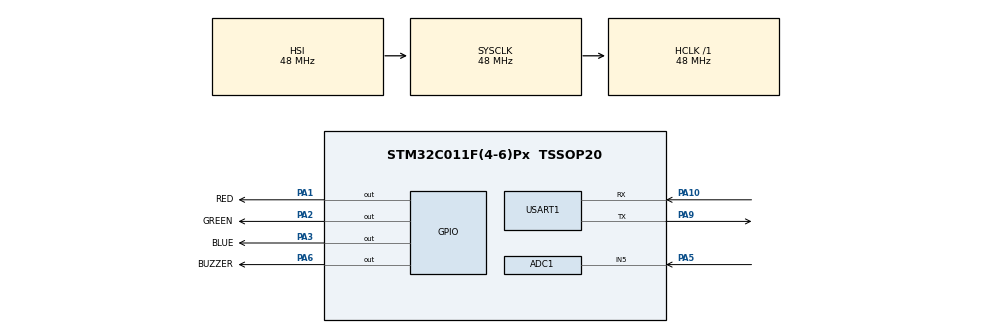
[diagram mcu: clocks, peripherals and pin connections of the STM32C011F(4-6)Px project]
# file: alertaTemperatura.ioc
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ADC1.Channel-0\#ChannelRegularConversion=ADC_CHANNEL_5
ADC1.NbrOfConversionFlag=1
ADC1.Rank-0\#ChannelRegularConversion=1
ADC1.SamplingTime-0\#ChannelRegularConversion=ADC_SAMPLINGTIME_COMMON_1
ADC1.SelectedChannel=ADC_CHANNEL_5
ADC1.master=1
Mcu.Family=STM32C0
Mcu.Name=STM32C011F(4-6)Px
Mcu.Package=TSSOP20
PA1.GPIO_Label=RED
PA1.Signal=GPIO_Output
PA10\ [PA12].Mode=Asynchronous
PA10\ [PA12].Signal=USART1_RX
PA13.Mode=Serial_Wire
PA13.Signal=DEBUG_SWDIO
PA14-BOOT0.Mode=Serial_Wire
PA14-BOOT0.Signal=DEBUG_SWCLK
PA2.GPIO_Label=GREEN
PA2.Signal=GPIO_Output
PA3.GPIO_Label=BLUE
PA3.Signal=GPIO_Output
PA5.Mode=IN5
PA5.Signal=ADC1_IN5
PA6.GPIO_Label=BUZZER
PA6.Signal=GPIO_Output
PA9\ [PA11].Mode=Asynchronous
PA9\ [PA11].Signal=USART1_TX
ProjectManager.HeapSize=0x200
ProjectManager.StackSize=0x400
ProjectManager.TargetToolchain=STM32CubeIDE
RCC.ADCFreq_Value=48000000
RCC.AHBFreq_Value=48000000
RCC.CortexFreq_Value=48000000
RCC.EXTERNAL_CLOCK_VALUE=12288000
RCC.HCLKFreq_Value=48000000
RCC.HSE_VALUE=8000000
RCC.HSISYSCLKDivider=RCC_HSI_DIV1
RCC.HSI_VALUE=48000000
RCC.LSE_VALUE=32768
RCC.SYSCLKFreq_VALUE=48000000
USART1.VirtualMode-Asynchronous=VM_ASYNC
VP_SYS_VS_PINREMAP.Mode=PINREMAP
VP_SYS_VS_PINREMAP_10_12.Mode=PINREMAP_10_12
board=custom

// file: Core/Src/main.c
/* USER CODE BEGIN Header */
/**
  ******************************************************************************
  * @file           : main.c
  * @brief          : Main program body
  ******************************************************************************
  * @attention
  *
  * Copyright (c) 2024 STMicroelectronics.
  * All rights reserved.
  *
  * This software is licensed under terms that can be found in the LICENSE file
  * in the root directory of this software component.
  * If no LICENSE file comes with this software, it is provided AS-IS.
  *
  ******************************************************************************
  */
/* USER CODE END Header */
#include "main.h"

/* USER CODE BEGIN Includes */
#include "stdio.h"
#include "math.h"
#include "string.h"
/* USER CODE END Includes */

ADC_HandleTypeDef hadc1;

UART_HandleTypeDef huart1;

/* USER CODE BEGIN PV */

/* resistencia resistor serie */
#define resistor 10000.0f

/* contantes equacao Steinhart-Hart  */
#define A 0.001125308852122f
#define B 0.000234711863267f
#define C 0.000000085663516f

uint32_t leitura;
float temperatura;
/* USER CODE END PV */

void SystemClock_Config(void);
static void MX_GPIO_Init(void);
static void MX_ADC1_Init(void);
static void MX_USART1_UART_Init(void);
/* USER CODE BEGIN PFP */
float calcular_temperatura();
void controlar_leds_e_buzzer();
void transmitir_temperatura();
/* USER CODE END PFP */

/* USER CODE BEGIN 0 */
float calcular_temperatura(){
	float ntc_resistance;
	/* calcula resistencia NTC */
	ntc_resistance = ((resistor)/((4095.0f/leitura) - 1.0f));
	/* Calcula temperatura usando equacao Steinhart-Hart  */
	float ntc_ln = log(ntc_resistance);
	temperatura = (1.0f / (A + B * ntc_ln + C * (ntc_ln * ntc_ln * ntc_ln))) - 273.15f;
	return temperatura;
}

void controlar_leds_e_buzzer() {
    if (temperatura <= 15) {
        // Ligar LED azul
        HAL_GPIO_WritePin(BLUE_GPIO_Port, BLUE_Pin, GPIO_PIN_SET);
        // Desligar outros LEDs
        HAL_GPIO_WritePin(GREEN_GPIO_Port, GREEN_Pin, GPIO_PIN_RESET);
        HAL_GPIO_WritePin(RED_GPIO_Port, RED_Pin, GPIO_PIN_RESET);
        // Desligar buzzer
        HAL_GPIO_WritePin(BUZZER_GPIO_Port, BUZZER_Pin, GPIO_PIN_RESET);
    } else if (temperatura > 15 && temperatura <= 30) {
        // Ligar LED verde
        HAL_GPIO_WritePin(GREEN_GPIO_Port, GREEN_Pin, GPIO_PIN_SET);
        // Desligar outros LEDs
        HAL_GPIO_WritePin(BLUE_GPIO_Port, BLUE_Pin, GPIO_PIN_RESET);
        HAL_GPIO_WritePin(RED_GPIO_Port, RED_Pin, GPIO_PIN_RESET);
        // Desligar buzzer
        HAL_GPIO_WritePin(BUZZER_GPIO_Port, BUZZER_Pin, GPIO_PIN_RESET);
    } else if (temperatura > 30) {
        // Ligar LED vermelho
        HAL_GPIO_WritePin(RED_GPIO_Port, RED_Pin, GPIO_PIN_SET);
        // Desligar outros LEDs
        HAL_GPIO_WritePin(BLUE_GPIO_Port, BLUE_Pin, GPIO_PIN_RESET);
        HAL_GPIO_WritePin(GREEN_GPIO_Port, GREEN_Pin, GPIO_PIN_RESET);
        // Ligar buzzer
        HAL_GPIO_WritePin(BUZZER_GPIO_Port, BUZZER_Pin, GPIO_PIN_SET);
    }
}

void transmitir_temperatura() {
    // Divida a temperatura em parte inteira e parte decimal
    int parte_inteira = (int)temperatura;
    int parte_decimal = (int)((temperatura - parte_inteira) * 100); // Duas casas decimais

    // Buffer para a string a ser transmitida
    char buffer[50];

    // Converta as partes para string e envie via UART
    sprintf(buffer, "Temperatura: %d.%02d\r\n", parte_inteira, parte_decimal);
    HAL_UART_Transmit(&huart1, (uint8_t*)buffer, strlen(buffer), HAL_MAX_DELAY);
}

/* USER CODE END 0 */

int main(void)
{

  /* MCU Configuration--------------------------------------------------------*/

  /* Reset of all peripherals, Initializes the Flash interface and the Systick. */
  HAL_Init();

  /* Configure the system clock */
  SystemClock_Config();

  /* Initialize all configured peripherals */
  MX_GPIO_Init();
  MX_ADC1_Init();
  MX_USART1_UART_Init();

  /* Infinite loop */
  while (1)
  {

    /* USER CODE BEGIN 3 */
	// ADC Polling
	HAL_ADC_Start (&hadc1);   // inicia leitura ADC
	HAL_ADC_PollForConversion (&hadc1, 1000); //aguarda conversao seja concluida
	leitura = HAL_ADC_GetValue (&hadc1); //  armazenar o valor lido pelo ADC
	HAL_ADC_Stop(&hadc1);
	// Calcula a temperatura
	temperatura = calcular_temperatura();
	// Controla os LEDs e o buzzer baseado na temperatura
	controlar_leds_e_buzzer();
	// Transmite a temperatura via UART
	transmitir_temperatura();

  }
  /* USER CODE END 3 */
}

void SystemClock_Config(void)
{
  RCC_OscInitTypeDef RCC_OscInitStruct = {0};
  RCC_ClkInitTypeDef RCC_ClkInitStruct = {0};

  /** Initializes the RCC Oscillators according to the specified parameters
  * in the RCC_OscInitTypeDef structure.
  */
  RCC_OscInitStruct.OscillatorType = RCC_OSCILLATORTYPE_HSI;
  RCC_OscInitStruct.HSIState = RCC_HSI_ON;
  RCC_OscInitStruct.HSIDiv = RCC_HSI_DIV1;
  RCC_OscInitStruct.HSICalibrationValue = RCC_HSICALIBRATION_DEFAULT;
  if (HAL_RCC_OscConfig(&RCC_OscInitStruct) != HAL_OK)
  {
    Error_Handler();
  }

  /** Initializes the CPU, AHB and APB buses clocks
  */
  RCC_ClkInitStruct.ClockType = RCC_CLOCKTYPE_HCLK|RCC_CLOCKTYPE_SYSCLK
                              |RCC_CLOCKTYPE_PCLK1;
  RCC_ClkInitStruct.SYSCLKSource = RCC_SYSCLKSOURCE_HSI;
  RCC_ClkInitStruct.SYSCLKDivider = RCC_SYSCLK_DIV1;
  RCC_ClkInitStruct.AHBCLKDivider = RCC_HCLK_DIV1;
  RCC_ClkInitStruct.APB1CLKDivider = RCC_APB1_DIV1;

  if (HAL_RCC_ClockConfig(&RCC_ClkInitStruct, FLASH_LATENCY_1) != HAL_OK)
  {
    Error_Handler();
  }
}

static void MX_ADC1_Init(void)
{

  ADC_ChannelConfTypeDef sConfig = {0};

  /** Configure the global features of the ADC (Clock, Resolution, Data Alignment and number of conversion)
  */
  hadc1.Instance = ADC1;
  hadc1.Init.ClockPrescaler = ADC_CLOCK_SYNC_PCLK_DIV2;
  hadc1.Init.Resolution = ADC_RESOLUTION_12B;
  hadc1.Init.DataAlign = ADC_DATAALIGN_RIGHT;
  hadc1.Init.ScanConvMode = ADC_SCAN_DISABLE;
  hadc1.Init.EOCSelection = ADC_EOC_SINGLE_CONV;
  hadc1.Init.LowPowerAutoWait = DISABLE;
  hadc1.Init.LowPowerAutoPowerOff = DISABLE;
  hadc1.Init.ContinuousConvMode = DISABLE;
  hadc1.Init.NbrOfConversion = 1;
  hadc1.Init.DiscontinuousConvMode = DISABLE;
  hadc1.Init.ExternalTrigConv = ADC_SOFTWARE_START;
  hadc1.Init.ExternalTrigConvEdge = ADC_EXTERNALTRIGCONVEDGE_NONE;
  hadc1.Init.DMAContinuousRequests = DISABLE;
  hadc1.Init.Overrun = ADC_OVR_DATA_PRESERVED;
  hadc1.Init.SamplingTimeCommon1 = ADC_SAMPLETIME_1CYCLE_5;
  hadc1.Init.SamplingTimeCommon2 = ADC_SAMPLETIME_1CYCLE_5;
  hadc1.Init.OversamplingMode = DISABLE;
  hadc1.Init.TriggerFrequencyMode = ADC_TRIGGER_FREQ_HIGH;
  if (HAL_ADC_Init(&hadc1) != HAL_OK)
  {
    Error_Handler();
  }

  /** Configure Regular Channel
  */
  sConfig.Channel = ADC_CHANNEL_5;
  sConfig.Rank = ADC_REGULAR_RANK_1;
  sConfig.SamplingTime = ADC_SAMPLINGTIME_COMMON_1;
  if (HAL_ADC_ConfigChannel(&hadc1, &sConfig) != HAL_OK)
  {
    Error_Handler();
  }

}

static void MX_USART1_UART_Init(void)
{

  huart1.Instance = USART1;
  huart1.Init.BaudRate = 115200;
  huart1.Init.WordLength = UART_WORDLENGTH_8B;
  huart1.Init.StopBits = UART_STOPBITS_1;
  huart1.Init.Parity = UART_PARITY_NONE;
  huart1.Init.Mode = UART_MODE_TX_RX;
  huart1.Init.HwFlowCtl = UART_HWCONTROL_NONE;
  huart1.Init.OverSampling = UART_OVERSAMPLING_16;
  huart1.Init.OneBitSampling = UART_ONE_BIT_SAMPLE_DISABLE;
  huart1.Init.ClockPrescaler = UART_PRESCALER_DIV1;
  huart1.AdvancedInit.AdvFeatureInit = UART_ADVFEATURE_NO_INIT;
  if (HAL_UART_Init(&huart1) != HAL_OK)
  {
    Error_Handler();
  }
  if (HAL_UARTEx_SetTxFifoThreshold(&huart1, UART_TXFIFO_THRESHOLD_1_8) != HAL_OK)
  {
    Error_Handler();
  }
  if (HAL_UARTEx_SetRxFifoThreshold(&huart1, UART_RXFIFO_THRESHOLD_1_8) != HAL_OK)
  {
    Error_Handler();
  }
  if (HAL_UARTEx_DisableFifoMode(&huart1) != HAL_OK)
  {
    Error_Handler();
  }

}

static void MX_GPIO_Init(void)
{
  GPIO_InitTypeDef GPIO_InitStruct = {0};

  /* GPIO Ports Clock Enable */
  __HAL_RCC_GPIOA_CLK_ENABLE();

  /*Configure GPIO pin Output Level */
  HAL_GPIO_WritePin(GPIOA, RED_Pin|GREEN_Pin|BLUE_Pin|BUZZER_Pin, GPIO_PIN_RESET);

  /*Configure GPIO pins : RED_Pin GREEN_Pin BLUE_Pin BUZZER_Pin */
  GPIO_InitStruct.Pin = RED_Pin|GREEN_Pin|BLUE_Pin|BUZZER_Pin;
  GPIO_InitStruct.Mode = GPIO_MODE_OUTPUT_PP;
  GPIO_InitStruct.Pull = GPIO_NOPULL;
  GPIO_InitStruct.Speed = GPIO_SPEED_FREQ_LOW;
  HAL_GPIO_Init(GPIOA, &GPIO_InitStruct);

}

void Error_Handler(void)
{
  __disable_irq();
  while (1)
  {
  }
}
